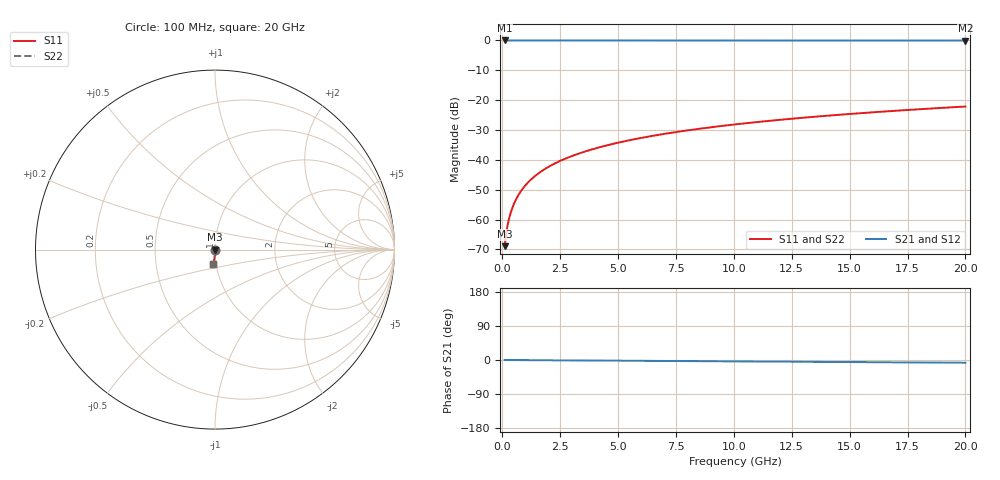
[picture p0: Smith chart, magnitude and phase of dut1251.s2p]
! Touchstone file exported from HFSS 2026.1.0
!  File:  C:/ffzhzh/LocalFiles/Ansys_Project_Files/temp_train_TSV_1251_1783193698_51560.aedt
!  Generated:  03:36:15 AM Jul  5, 2026
!  Design:  TSV
!  Project:  temp_train_TSV_1251_1783193698_51560
! Variables:
!  h_bsmrdl = 2um
!  h_ox = 20um
!  h_rdl = 5um
!  h_sub = 59.05um
!  h_tmrdl = 5um
!  h_tsv = 59.05um
!  h_via = 3um
!  l_bsmrdl = 300um
!  l_sub = 427.4um
!  l_tmrdl = 200um
!  m_sub = 200um
!  pitch = 33.29um
!  r_tsv = 13.7um
!  s_tmrdl = 10um
!  w_bsmrdl = 18um
!  w_sub = 500um
!  w_tmrdl = 12um
!  x_tsv_center1 = 206um
!  x_tsv_center2 = 524um
!  x_tsv_center3 = 736um
!  x_tsv_center4 = 1054um
!  x_tsv_center5 = 1266um
!  x_tsv_center6 = 1584um
# GHz S MA R 50.000000
! Terminal data exported
! Port[1] = TSV1_1_T1
! Port[2] = TSV1_1_T2
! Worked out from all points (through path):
!   200 points, 100 MHz to 20 GHz, reference 50 ohm
!   highest |S21| = 0.00 dB at 100 MHz (marker M1); lowest = 0.0 dB at 20 GHz (marker M2)
!   group delay of S21, straight-line fit = 1 ps
!   lowest |S11| = -68.9 dB at 100 MHz (marker M3), VSWR 1.00, Z = 50 - j0.035 ohm
!   |S11| at or under -10 dB: start of sweep to end of sweep
!   |S22| runs from -68.9 to -22.1 dB; largest |S21 - S12| = 5.2e-15
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0.1  0.0003584 -77.8  0.9999 -0.0  0.9999 -0.0  0.0003584 -77.8
! Gamma 0 0 0 0
! Port Impedance 50 0 50 0
0.2  0.0007107 -82.7  0.9999 -0.1  0.9999 -0.1  0.0007107 -82.7
0.3  0.001072 -84.1  0.9999 -0.1  0.9999 -0.1  0.001072 -84.1
0.4  0.001442 -84.7  0.9999 -0.2  0.9999 -0.2  0.001442 -84.7
0.5  0.001819 -85.1  0.9998 -0.2  0.9998 -0.2  0.001819 -85.1
0.7  0.002586 -85.8  0.9998 -0.3  0.9998 -0.3  0.002586 -85.8
0.8  0.002974 -86.0  0.9998 -0.3  0.9998 -0.3  0.002974 -86.0
1  0.003753 -86.6  0.9997 -0.4  0.9997 -0.4  0.003753 -86.6
1.2  0.004533 -87.0  0.9997 -0.4  0.9997 -0.4  0.004533 -87.0
1.4  0.005315 -87.4  0.9997 -0.5  0.9997 -0.5  0.005315 -87.4
1.7  0.006486 -87.8  0.9997 -0.6  0.9997 -0.6  0.006486 -87.8
2  0.007657 -88.2  0.9996 -0.7  0.9996 -0.7  0.007657 -88.2
2.7  0.01039 -88.9  0.9996 -1.0  0.9996 -1.0  0.01039 -88.9
3.5  0.01351 -89.5  0.9995 -1.3  0.9995 -1.3  0.01351 -89.5
4.2  0.01625 -89.9  0.9994 -1.5  0.9994 -1.5  0.01625 -89.9
5  0.01939 -90.3  0.9993 -1.8  0.9993 -1.8  0.01939 -90.3
6.8  0.02646 -91.2  0.999 -2.5  0.999 -2.5  0.02646 -91.2
8.3  0.03236 -91.8  0.9988 -3.0  0.9988 -3.0  0.03236 -91.8
10.1  0.03944 -92.6  0.9985 -3.7  0.9985 -3.7  0.03944 -92.6
13.4  0.05241 -93.9  0.9978 -4.9  0.9978 -4.9  0.05241 -93.9
16.7  0.06535 -95.2  0.9969 -6.0  0.9969 -6.0  0.06535 -95.2
20  0.07825 -96.4  0.9959 -7.2  0.9959 -7.2  0.07826 -96.4
